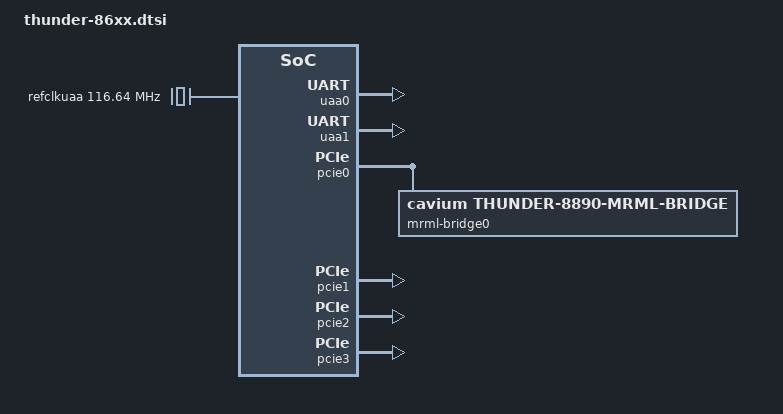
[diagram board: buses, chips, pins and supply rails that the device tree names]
/*
 * Cavium Thunder DTS file - Thunder SoC description
 *
 * Copyright (C) 2014, Cavium Inc.
 *
 * This file is dual-licensed: you can use it either under the terms
 * of the GPL or the X11 license, at your option. Note that this dual
 * licensing only applies to this file, and not this project as a
 * whole.
 *
 *  a) This library is free software; you can redistribute it and/or
 *     modify it under the terms of the GNU General Public License as
 *     published by the Free Software Foundation; either version 2 of the
 *     License, or (at your option) any later version.
 *
 *     This library is distributed in the hope that it will be useful,
 *     but WITHOUT ANY WARRANTY; without even the implied warranty of
 *     MERCHANTABILITY or FITNESS FOR A PARTICULAR PURPOSE.  See the
 *     GNU General Public License for more details.
 *
 * Or, alternatively,
 *
 *  b) Permission is hereby granted, free of charge, to any person
 *     obtaining a copy of this software and associated documentation
 *     files (the "Software"), to deal in the Software without
 *     restriction, including without limitation the rights to use,
 *     copy, modify, merge, publish, distribute, sublicense, and/or
 *     sell copies of the Software, and to permit persons to whom the
 *     Software is furnished to do so, subject to the following
 *     conditions:
 *
 *     The above copyright notice and this permission notice shall be
 *     included in all copies or substantial portions of the Software.
 *
 *     THE SOFTWARE IS PROVIDED "AS IS", WITHOUT WARRANTY OF ANY KIND,
 *     EXPRESS OR IMPLIED, INCLUDING BUT NOT LIMITED TO THE WARRANTIES
 *     OF MERCHANTABILITY, FITNESS FOR A PARTICULAR PURPOSE AND
 *     NONINFRINGEMENT. IN NO EVENT SHALL THE AUTHORS OR COPYRIGHT
 *     HOLDERS BE LIABLE FOR ANY CLAIM, DAMAGES OR OTHER LIABILITY,
 *     WHETHER IN AN ACTION OF CONTRACT, TORT OR OTHERWISE, ARISING
 *     FROM, OUT OF OR IN CONNECTION WITH THE SOFTWARE OR THE USE OR
 *     OTHER DEALINGS IN THE SOFTWARE.
 */

/ {
	compatible = "cavium,thunder-86xx";
	interrupt-parent = <&gic0>;
	#address-cells = <2>;
	#size-cells = <2>;

	psci {
		compatible = "arm,psci-0.2";
		method = "smc";
	};

	cpus {
		#address-cells = <2>;
		#size-cells = <0>;

		cpu-map {
			cluster0 {
				core0 {
					cpu = <&CPU0>;
				};
				core1 {
					cpu = <&CPU1>;
				};
				core2 {
					cpu = <&CPU2>;
				};
				core3 {
					cpu = <&CPU3>;
				};
				core4 {
					cpu = <&CPU4>;
				};
				core5 {
					cpu = <&CPU5>;
				};
				core6 {
					cpu = <&CPU6>;
				};
				core7 {
					cpu = <&CPU7>;
				};
				core8 {
					cpu = <&CPU8>;
				};
				core9 {
					cpu = <&CPU9>;
				};
				core10 {
					cpu = <&CPU10>;
				};
				core11 {
					cpu = <&CPU11>;
				};
				core12 {
					cpu = <&CPU12>;
				};
				core13 {
					cpu = <&CPU13>;
				};
				core14 {
					cpu = <&CPU14>;
				};
				core15 {
					cpu = <&CPU15>;
				};
				core16 {
					cpu = <&CPU16>;
				};
				core17 {
					cpu = <&CPU17>;
				};
				core18 {
					cpu = <&CPU18>;
				};
				core19 {
					cpu = <&CPU19>;
				};
				core20 {
					cpu = <&CPU20>;
				};
				core21 {
					cpu = <&CPU21>;
				};
				core22 {
					cpu = <&CPU22>;
				};
				core23 {
					cpu = <&CPU23>;
				};
			};
		};

		CPU0: cpu@000 {
			device_type = "cpu";
			compatible = "cavium,thunder", "arm,armv8";
			reg = <0x0 0x000>;
			enable-method = "psci";
			/* socket 0, cluster 0, core 0*/
			arm,associativity = <0 0 0>;
		};
		CPU1: cpu@001 {
			device_type = "cpu";
			compatible = "cavium,thunder", "arm,armv8";
			reg = <0x0 0x001>;
			enable-method = "psci";
			arm,associativity = <0 0 1>;
		};
		CPU2: cpu@002 {
			device_type = "cpu";
			compatible = "cavium,thunder", "arm,armv8";
			reg = <0x0 0x002>;
			enable-method = "psci";
			arm,associativity = <0 0 2>;
		};
		CPU3: cpu@003 {
			device_type = "cpu";
			compatible = "cavium,thunder", "arm,armv8";
			reg = <0x0 0x003>;
			enable-method = "psci";
			arm,associativity = <0 0 3>;
		};
		CPU4: cpu@004 {
			device_type = "cpu";
			compatible = "cavium,thunder", "arm,armv8";
			reg = <0x0 0x004>;
			enable-method = "psci";
			arm,associativity = <0 0 4>;
		};
		CPU5: cpu@005 {
			device_type = "cpu";
			compatible = "cavium,thunder", "arm,armv8";
			reg = <0x0 0x005>;
			enable-method = "psci";
			arm,associativity = <0 0 5>;
		};
		CPU6: cpu@006 {
			device_type = "cpu";
			compatible = "cavium,thunder", "arm,armv8";
			reg = <0x0 0x006>;
			enable-method = "psci";
			arm,associativity = <0 0 6>;
		};
		CPU7: cpu@007 {
			device_type = "cpu";
			compatible = "cavium,thunder", "arm,armv8";
			reg = <0x0 0x007>;
			enable-method = "psci";
			arm,associativity = <0 0 7>;
		};
		CPU8: cpu@008 {
			device_type = "cpu";
			compatible = "cavium,thunder", "arm,armv8";
			reg = <0x0 0x008>;
			enable-method = "psci";
			arm,associativity = <0 0 8>;
		};
		CPU9: cpu@009 {
			device_type = "cpu";
			compatible = "cavium,thunder", "arm,armv8";
			reg = <0x0 0x009>;
			enable-method = "psci";
			arm,associativity = <0 0 9>;
		};
		CPU10: cpu@00a {
			device_type = "cpu";
			compatible = "cavium,thunder", "arm,armv8";
			reg = <0x0 0x00a>;
			enable-method = "psci";
			arm,associativity = <0 0 10>;
		};
		CPU11: cpu@00b {
			device_type = "cpu";
			compatible = "cavium,thunder", "arm,armv8";
			reg = <0x0 0x00b>;
			enable-method = "psci";
			arm,associativity = <0 0 11>;
		};
		CPU12: cpu@00c {
			device_type = "cpu";
			compatible = "cavium,thunder", "arm,armv8";
			reg = <0x0 0x00c>;
			enable-method = "psci";
			arm,associativity = <0 0 12>;
		};
		CPU13: cpu@00d {
			device_type = "cpu";
			compatible = "cavium,thunder", "arm,armv8";
			reg = <0x0 0x00d>;
			enable-method = "psci";
			arm,associativity = <0 0 13>;
		};
		CPU14: cpu@00e {
			device_type = "cpu";
			compatible = "cavium,thunder", "arm,armv8";
			reg = <0x0 0x00e>;
			enable-method = "psci";
			arm,associativity = <0 0 14>;
		};
		CPU15: cpu@00f {
			device_type = "cpu";
			compatible = "cavium,thunder", "arm,armv8";
			reg = <0x0 0x00f>;
			enable-method = "psci";
			arm,associativity = <0 0 15>;
		};
		CPU16: cpu@100 {
			device_type = "cpu";
			compatible = "cavium,thunder", "arm,armv8";
			reg = <0x0 0x100>;
			enable-method = "psci";
			arm,associativity = <0 1 0>;
		};
		CPU17: cpu@101 {
			device_type = "cpu";
			compatible = "cavium,thunder", "arm,armv8";
			reg = <0x0 0x101>;
			enable-method = "psci";
			arm,associativity = <0 1 1>;
		};
		CPU18: cpu@102 {
			device_type = "cpu";
			compatible = "cavium,thunder", "arm,armv8";
			reg = <0x0 0x102>;
			enable-method = "psci";
			arm,associativity = <0 1 2>;
		};
		CPU19: cpu@103 {
			device_type = "cpu";
			compatible = "cavium,thunder", "arm,armv8";
			reg = <0x0 0x103>;
			enable-method = "psci";
			arm,associativity = <0 1 3>;
		};
		CPU20: cpu@104 {
			device_type = "cpu";
			compatible = "cavium,thunder", "arm,armv8";
			reg = <0x0 0x104>;
			enable-method = "psci";
			arm,associativity = <0 1 4>;
		};
		CPU21: cpu@105 {
			device_type = "cpu";
			compatible = "cavium,thunder", "arm,armv8";
			reg = <0x0 0x105>;
			enable-method = "psci";
			arm,associativity = <0 1 5>;
		};
		CPU22: cpu@106 {
			device_type = "cpu";
			compatible = "cavium,thunder", "arm,armv8";
			reg = <0x0 0x106>;
			enable-method = "psci";
			arm,associativity = <0 1 6>;
		};
		CPU23: cpu@107 {
			device_type = "cpu";
			compatible = "cavium,thunder", "arm,armv8";
			reg = <0x0 0x107>;
			enable-method = "psci";
			arm,associativity = <0 1 7>;
		};
	};

	timer {
		compatible = "arm,armv8-timer";
		interrupts = <1 13 0xff01>,
			     <1 14 0xff01>,
			     <1 11 0xff01>,
			     <1 10 0xff01>;
	};

	pmu {
		compatible = "arm,armv8-pmuv3";
		interrupts = <1 7 4>;
	};

	gic0: interrupt-controller@8010,00000000 {
		compatible = "arm,gic-v3";
		#interrupt-cells = <3>;
		#address-cells = <2>;
		#size-cells = <2>;
		#redistributor-regions = <1>;
		ranges;
		interrupt-controller;
		reg = <0x8010 0x00000000 0x0 0x010000>, /* GICD */
		      <0x8010 0x80000000 0x0 0x600000>; /* GICR Node 0 */
		interrupts = <1 9 0xf04>;

		its: gic-its@8010,00020000 {
			compatible = "arm,gic-v3-its";
			reg = <0x8010 0x20000 0x0 0x200000>;
			msi-controller;
			#msi-cells = <1>;
		};
	};

	soc@0 {
		compatible = "simple-bus";
		#address-cells = <2>;
		#size-cells = <2>;
		ranges;

		refclkuaa: refclkuaa {
			compatible = "fixed-clock";
			#clock-cells = <0>;
			clock-frequency = <116640000>;
			clock-output-names = "refclkuaa";
		};

		uaa0: serial@87e0,24000000 {
			compatible = "arm,pl011", "arm,primecell";
			reg = <0x87e0 0x24000000 0x0 0x1000>;
			interrupts = <0 5 4>;
			clocks = <&refclkuaa>;
			clock-names = "apb_pclk";
			uboot,skip-init;
		};

		uaa1: serial@87e0,25000000 {
			compatible = "arm,pl011", "arm,primecell";
			reg = <0x87e0 0x25000000 0x0 0x1000>;
			interrupts = <0 6 4>;
			clocks = <&refclkuaa>;
			clock-names = "apb_pclk";
			uboot,skip-init;
		};

		smmu0@8300,00000000 {
			compatible = "arm,smmu-v2";
			reg = <0x8300 0x0 0x0 0x2000000>;
			#global-interrupts = <1>;
			interrupts = <0 68 4>, <0 69 4>, <0 69 4>, <0 69 4>, <0 69 4>, <0 69 4>,
				     <0 69 4>, <0 69 4>, <0 69 4>, <0 69 4>, <0 69 4>, <0 69 4>,
				     <0 69 4>, <0 69 4>, <0 69 4>, <0 69 4>, <0 69 4>, <0 69 4>,
				     <0 69 4>, <0 69 4>, <0 69 4>, <0 69 4>, <0 69 4>, <0 69 4>,
				     <0 69 4>, <0 69 4>, <0 69 4>, <0 69 4>, <0 69 4>, <0 69 4>,
				     <0 69 4>, <0 69 4>, <0 69 4>, <0 69 4>, <0 69 4>, <0 69 4>,
				     <0 69 4>, <0 69 4>, <0 69 4>, <0 69 4>, <0 69 4>, <0 69 4>,
				     <0 69 4>, <0 69 4>, <0 69 4>, <0 69 4>, <0 69 4>, <0 69 4>,
				     <0 69 4>, <0 69 4>, <0 69 4>, <0 69 4>, <0 69 4>, <0 69 4>,
				     <0 69 4>, <0 69 4>, <0 69 4>, <0 69 4>, <0 69 4>, <0 69 4>,
				     <0 69 4>, <0 69 4>, <0 69 4>, <0 69 4>, <0 69 4>, <0 69 4>,
				     <0 69 4>, <0 69 4>, <0 69 4>, <0 69 4>, <0 69 4>, <0 69 4>,
				     <0 69 4>, <0 69 4>, <0 69 4>, <0 69 4>, <0 69 4>, <0 69 4>,
				     <0 69 4>, <0 69 4>, <0 69 4>, <0 69 4>, <0 69 4>, <0 69 4>,
				     <0 69 4>, <0 69 4>, <0 69 4>, <0 69 4>, <0 69 4>, <0 69 4>,
				     <0 69 4>, <0 69 4>, <0 69 4>, <0 69 4>, <0 69 4>, <0 69 4>,
				     <0 69 4>, <0 69 4>, <0 69 4>, <0 69 4>, <0 69 4>, <0 69 4>,
				     <0 69 4>, <0 69 4>, <0 69 4>, <0 69 4>, <0 69 4>, <0 69 4>,
				     <0 69 4>, <0 69 4>, <0 69 4>, <0 69 4>, <0 69 4>, <0 69 4>,
				     <0 69 4>, <0 69 4>, <0 69 4>, <0 69 4>, <0 69 4>, <0 69 4>,
				     <0 69 4>, <0 69 4>, <0 69 4>, <0 69 4>, <0 69 4>, <0 69 4>,
				     <0 69 4>, <0 69 4>, <0 69 4>;

			mmu-masters = <&pcie0 0x100>;
			thunderx,smmu-64-bit-writes-only;
		};

			smmu1@8310,00000000 {
			compatible = "arm,smmu-v2";
			reg = <0x8310 0x0 0x0 0x2000000>;
			#global-interrupts = <1>;
			interrupts = <0 70 4>, <0 71 4>, <0 71 4>, <0 71 4>, <0 71 4>, <0 71 4>,
				     <0 71 4>, <0 71 4>, <0 71 4>, <0 71 4>, <0 71 4>, <0 71 4>,
				     <0 71 4>, <0 71 4>, <0 71 4>, <0 71 4>, <0 71 4>, <0 71 4>,
				     <0 71 4>, <0 71 4>, <0 71 4>, <0 71 4>, <0 71 4>, <0 71 4>,
				     <0 71 4>, <0 71 4>, <0 71 4>, <0 71 4>, <0 71 4>, <0 71 4>,
				     <0 71 4>, <0 71 4>, <0 71 4>, <0 71 4>, <0 71 4>, <0 71 4>,
				     <0 71 4>, <0 71 4>, <0 71 4>, <0 71 4>, <0 71 4>, <0 71 4>,
				     <0 71 4>, <0 71 4>, <0 71 4>, <0 71 4>, <0 71 4>, <0 71 4>,
				     <0 71 4>, <0 71 4>, <0 71 4>, <0 71 4>, <0 71 4>, <0 71 4>,
				     <0 71 4>, <0 71 4>, <0 71 4>, <0 71 4>, <0 71 4>, <0 71 4>,
				     <0 71 4>, <0 71 4>, <0 71 4>, <0 71 4>, <0 71 4>, <0 71 4>,
				     <0 71 4>, <0 71 4>, <0 71 4>, <0 71 4>, <0 71 4>, <0 71 4>,
				     <0 71 4>, <0 71 4>, <0 71 4>, <0 71 4>, <0 71 4>, <0 71 4>,
				     <0 71 4>, <0 71 4>, <0 71 4>, <0 71 4>, <0 71 4>, <0 71 4>,
				     <0 71 4>, <0 71 4>, <0 71 4>, <0 71 4>, <0 71 4>, <0 71 4>,
				     <0 71 4>, <0 71 4>, <0 71 4>, <0 71 4>, <0 71 4>, <0 71 4>,
				     <0 71 4>, <0 71 4>, <0 71 4>, <0 71 4>, <0 71 4>, <0 71 4>,
				     <0 71 4>, <0 71 4>, <0 71 4>, <0 71 4>, <0 71 4>, <0 71 4>,
				     <0 71 4>, <0 71 4>, <0 71 4>, <0 71 4>, <0 71 4>, <0 71 4>,
				     <0 71 4>, <0 71 4>, <0 71 4>, <0 71 4>, <0 71 4>, <0 71 4>,
				     <0 71 4>, <0 71 4>, <0 71 4>, <0 71 4>, <0 71 4>, <0 71 4>,
				     <0 71 4>, <0 71 4>, <0 71 4>;

			mmu-masters = <&pcie1 0x100>;
			thunderx,smmu-64-bit-writes-only;
		};

		smmu2@8320,00000000 {
			compatible = "arm,smmu-v2";
			reg = <0x8320 0x0 0x0 0x2000000>;
			#global-interrupts = <1>;
			interrupts = <0 72 4>, <0 73 4>, <0 73 4>, <0 73 4>, <0 73 4>, <0 73 4>,
				     <0 73 4>, <0 73 4>, <0 73 4>, <0 73 4>, <0 73 4>, <0 73 4>,
				     <0 73 4>, <0 73 4>, <0 73 4>, <0 73 4>, <0 73 4>, <0 73 4>,
				     <0 73 4>, <0 73 4>, <0 73 4>, <0 73 4>, <0 73 4>, <0 73 4>,
				     <0 73 4>, <0 73 4>, <0 73 4>, <0 73 4>, <0 73 4>, <0 73 4>,
				     <0 73 4>, <0 73 4>, <0 73 4>, <0 73 4>, <0 73 4>, <0 73 4>,
				     <0 73 4>, <0 73 4>, <0 73 4>, <0 73 4>, <0 73 4>, <0 73 4>,
				     <0 73 4>, <0 73 4>, <0 73 4>, <0 73 4>, <0 73 4>, <0 73 4>,
				     <0 73 4>, <0 73 4>, <0 73 4>, <0 73 4>, <0 73 4>, <0 73 4>,
				     <0 73 4>, <0 73 4>, <0 73 4>, <0 73 4>, <0 73 4>, <0 73 4>,
				     <0 73 4>, <0 73 4>, <0 73 4>, <0 73 4>, <0 73 4>, <0 73 4>,
				     <0 73 4>, <0 73 4>, <0 73 4>, <0 73 4>, <0 73 4>, <0 73 4>,
				     <0 73 4>, <0 73 4>, <0 73 4>, <0 73 4>, <0 73 4>, <0 73 4>,
				     <0 73 4>, <0 73 4>, <0 73 4>, <0 73 4>, <0 73 4>, <0 73 4>,
				     <0 73 4>, <0 73 4>, <0 73 4>, <0 73 4>, <0 73 4>, <0 73 4>,
				     <0 73 4>, <0 73 4>, <0 73 4>, <0 73 4>, <0 73 4>, <0 73 4>,
				     <0 73 4>, <0 73 4>, <0 73 4>, <0 73 4>, <0 73 4>, <0 73 4>,
				     <0 73 4>, <0 73 4>, <0 73 4>, <0 73 4>, <0 73 4>, <0 73 4>,
				     <0 73 4>, <0 73 4>, <0 73 4>, <0 73 4>, <0 73 4>, <0 73 4>,
				     <0 73 4>, <0 73 4>, <0 73 4>, <0 73 4>, <0 73 4>, <0 73 4>,
				     <0 73 4>, <0 73 4>, <0 73 4>, <0 73 4>, <0 73 4>, <0 73 4>,
				     <0 73 4>, <0 73 4>, <0 73 4>;

			mmu-masters = <&pcie2 0x100>;
			thunderx,smmu-64-bit-writes-only;
		};

		smmu3@8330,00000000 {
			compatible = "arm,smmu-v2";
			reg = <0x8330 0x0 0x0 0x2000000>;
			#global-interrupts = <1>;
			interrupts = <0 74 4>, <0 75 4>, <0 75 4>, <0 75 4>, <0 75 4>, <0 75 4>,
				     <0 75 4>, <0 75 4>, <0 75 4>, <0 75 4>, <0 75 4>, <0 75 4>,
				     <0 75 4>, <0 75 4>, <0 75 4>, <0 75 4>, <0 75 4>, <0 75 4>,
				     <0 75 4>, <0 75 4>, <0 75 4>, <0 75 4>, <0 75 4>, <0 75 4>,
				     <0 75 4>, <0 75 4>, <0 75 4>, <0 75 4>, <0 75 4>, <0 75 4>,
				     <0 75 4>, <0 75 4>, <0 75 4>, <0 75 4>, <0 75 4>, <0 75 4>,
				     <0 75 4>, <0 75 4>, <0 75 4>, <0 75 4>, <0 75 4>, <0 75 4>,
				     <0 75 4>, <0 75 4>, <0 75 4>, <0 75 4>, <0 75 4>, <0 75 4>,
				     <0 75 4>, <0 75 4>, <0 75 4>, <0 75 4>, <0 75 4>, <0 75 4>,
				     <0 75 4>, <0 75 4>, <0 75 4>, <0 75 4>, <0 75 4>, <0 75 4>,
				     <0 75 4>, <0 75 4>, <0 75 4>, <0 75 4>, <0 75 4>, <0 75 4>,
				     <0 75 4>, <0 75 4>, <0 75 4>, <0 75 4>, <0 75 4>, <0 75 4>,
				     <0 75 4>, <0 75 4>, <0 75 4>, <0 75 4>, <0 75 4>, <0 75 4>,
				     <0 75 4>, <0 75 4>, <0 75 4>, <0 75 4>, <0 75 4>, <0 75 4>,
				     <0 75 4>, <0 75 4>, <0 75 4>, <0 75 4>, <0 75 4>, <0 75 4>,
				     <0 75 4>, <0 75 4>, <0 75 4>, <0 75 4>, <0 75 4>, <0 75 4>,
				     <0 75 4>, <0 75 4>, <0 75 4>, <0 75 4>, <0 75 4>, <0 75 4>,
				     <0 75 4>, <0 75 4>, <0 75 4>, <0 75 4>, <0 75 4>, <0 75 4>,
				     <0 75 4>, <0 75 4>, <0 75 4>, <0 75 4>, <0 75 4>, <0 75 4>,
				     <0 75 4>, <0 75 4>, <0 75 4>, <0 75 4>, <0 75 4>, <0 75 4>,
				     <0 75 4>, <0 75 4>, <0 75 4>, <0 75 4>, <0 75 4>, <0 75 4>,
				     <0 75 4>, <0 75 4>, <0 75 4>;

			mmu-masters = <&pcie3 0x100>;
			thunderx,smmu-64-bit-writes-only;
		};

		pcie0: pcie0@8480,00000000 {
			compatible = "cavium,pci-host-thunder-ecam";
			device_type = "pci";
			msi-parent = <&its>;
			msi-map = <0 &its 0 0x10000>;
			bus-range = <0 255>;
			#size-cells = <2>;
			#address-cells = <3>;
			#stream-id-cells = <1>;
			reg = <0x8480 0x00000000 0 0x10000000>;	 /* Configuration space */
			ranges = <0x03000000 0x8010 0x00000000 0x8010 0x00000000 0x070 0x00000000>, /* mem ranges */
				 <0x03000000 0x8680 0x00000000 0x8680 0x00000000 0x160 0x24000000>, /* hole for UARTs */
				 <0x03000000 0x87e0 0x26000000 0x87e0 0x26000000 0x000 0x9a000000>, /* hole for PEMs */
				 <0x03000000 0x87e0 0xc6000000 0x87e0 0xc6000000 0x01f 0x3a000000>;

			mrml-bridge0@1,0 {
				compatible = "cavium,thunder-8890-mrml-bridge";
				#size-cells = <2>;
				#address-cells = <3>;
				ranges = <0x03000000 0x87e0 0x00000000 0x03000000 0x87e0 0x00000000 0x10 0x00000000>;
				reg = <0x0800 0 0 0 0>; /* DEVFN = 0x08 (1:0) */

				mdio-nexus@1,3 {
					compatible = "cavium,thunder-8890-mdio-nexus";
					#address-cells = <2>;
					#size-cells = <2>;
					reg = <0x0b00 0 0 0 0>; /* DEVFN = 0x0b (1:3) */
					assigned-addresses = <0x03000000 0x87e0 0x05000000 0x0 0x800000>;
					ranges = <0x87e0 0x05000000 0x03000000 0x87e0 0x05000000 0x0 0x800000>;

					mdio0@87e0,05003800 {
						compatible = "cavium,thunder-8890-mdio";
						#address-cells = <1>;
						#size-cells = <0>;
						reg = <0x87e0 0x05003800 0x0 0x30>;
					};

					mdio1@87e0,05003880 {
						compatible = "cavium,thunder-8890-mdio";
						#address-cells = <1>;
						#size-cells = <0>;
						reg = <0x87e0 0x05003880 0x0 0x30>;

						sgmii00: sgmii00 {
							qlm-mode = "0,sgmii";
							reg = <0x8> ;
							compatible = "marvell,88e1240", "ethernet-phy-ieee802.3-c22";
							marvell,reg-init = <3 0x10 0 0x8665>,
									   <3 0x11 0 0x00aa>,
									   <3 0x12 0 0x4105>,
									   <3 0x13 0 0x8a08>;
						};
						sgmii01: sgmii01 {
							qlm-mode = "0,sgmii";
							reg = <0x9> ;
							compatible = "marvell,88e1240", "ethernet-phy-ieee802.3-c22";
							marvell,reg-init = <3 0x10 0 0x8665>,
									   <3 0x11 0 0x00aa>,
									   <3 0x12 0 0x4105>,
									   <3 0x13 0 0x8a08>;
						};
						sgmii02: sgmii02 {
							qlm-mode = "0,sgmii";
							reg = <0xa> ;
							compatible = "marvell,88e1240", "ethernet-phy-ieee802.3-c22";
							marvell,reg-init = <3 0x10 0 0x8665>,
									   <3 0x11 0 0x00aa>,
									   <3 0x12 0 0x4105>,
									   <3 0x13 0 0x8a08>;
						};
						sgmii03: sgmii03 {
							qlm-mode = "0,sgmii";
							reg = <0xb> ;
							compatible = "marvell,88e1240", "ethernet-phy-ieee802.3-c22";
							marvell,reg-init = <3 0x10 0 0x8665>,
									   <3 0x11 0 0x00aa>,
									   <3 0x12 0 0x4105>,
									   <3 0x13 0 0x8a08>;
						};
						sgmii10: sgmii10 {
							qlm-mode = "1,sgmii";
							reg = <0xc> ;
							compatible = "marvell,88e1240", "ethernet-phy-ieee802.3-c22";
							marvell,reg-init = <3 0x10 0 0x8665>,
									   <3 0x11 0 0x00aa>,
								           <3 0x12 0 0x4105>,
								           <3 0x13 0 0x8a08>;
						};
						sgmii11: sgmii11 {
							qlm-mode = "1,sgmii";
							reg = <0xd> ;
							compatible = "marvell,88e1240", "ethernet-phy-ieee802.3-c22";
							marvell,reg-init = <3 0x10 0 0x8665>,
			      						   <3 0x11 0 0x00aa>,
					   			           <3 0x12 0 0x4105>,
									   <3 0x13 0 0x8a08>;

						};
						sgmii12: sgmii12 {
							qlm-mode = "1,sgmii";
							reg = <0xe> ;
							compatible = "marvell,88e1240", "ethernet-phy-ieee802.3-c22";
							marvell,reg-init = <3 0x10 0 0x8665>,
			      						   <3 0x11 0 0x00aa>,
					  			           <3 0x12 0 0x4105>,
					  			           <3 0x13 0 0x8a08>;
						};
						sgmii13: sgmii13 {
							qlm-mode = "1,sgmii";
							reg = <0xf> ;
							compatible = "marvell,88e1240", "ethernet-phy-ieee802.3-c22";
							marvell,reg-init = <3 0x10 0 0x8665>,
			      						   <3 0x11 0 0x00aa>,
								           <3 0x12 0 0x4105>,
								           <3 0x13 0 0x8a08>;
						};
						xaui00: xaui00 {
							qlm-mode = "0,xaui";
							reg = <8> ;
							compatible = "broadcom,bcm8706", "ethernet-phy-ieee802.3-c45";
							broadcom,c45-reg-init = <1 0xc808 0xff8f 0x70>;
						};
						xaui10: xaui10 {
							qlm-mode = "1,xaui";
							reg = <0xc> ;
							compatible = "broadcom,bcm8706", "ethernet-phy-ieee802.3-c45";
							broadcom,c45-reg-init = <1 0xc808 0xff8f 0x70>;
						};

						rxaui00: rxaui00 {
							qlm-mode = "0,rxaui";
							reg = <8> ;
							compatible = "marvell,88x3120", "ethernet-phy-ieee802.3-c45";
						};
						rxaui01: rxaui01 {
							qlm-mode = "0,rxaui";
							reg = <9> ;
							compatible = "marvell,88x3120", "ethernet-phy-ieee802.3-c45";
						};
						rxaui10: rxaui10 {
							qlm-mode = "1,rxaui";
							reg = <0xc> ;
							compatible = "marvell,88x3120", "ethernet-phy-ieee802.3-c45";
						};
						rxaui11: rxaui11 {
							qlm-mode = "1,rxaui";
							reg = <0xd> ;
							compatible = "marvell,88x3120", "ethernet-phy-ieee802.3-c45";
						};
					};
				};

				bgx0 {
					#address-cells = <1>;
					#size-cells = <0>;
					reg = <0x8000 0 0 0 0>; /* DEVFN = 0x80 (16:0) */
					/* typename+qlm+typenumber eg :
					   sgmii+bgx0+sgmmi0
					 */
					// SGMII
					sgmii00 {
						reg = <0>;
						qlm-mode = "0,sgmii";
						phy-handle = <&sgmii00>;
					};
					sgmii01 {
						reg = <1>;
						qlm-mode = "0,sgmii";
						phy-handle = <&sgmii01>;
					};
					sgmii02 {
						reg = <2>;
						qlm-mode = "0,sgmii";
						phy-handle = <&sgmii02>;
					};
					sgmii03 {
						reg = <3>;
						qlm-mode = "0,sgmii";
						phy-handle = <&sgmii03>;
					};
					xaui00 {
						reg = <0>;
						qlm-mode = "0,xaui";
						phy-handle = <&xaui00>;
					};
					rxaui00 {
						reg = <0>;
						qlm-mode = "0,rxaui";
						phy-handle = <&rxaui00>;
					};
					rxaui01 {
						reg = <1>;
						qlm-mode = "0,rxaui";
						phy-handle = <&rxaui01>;
					};
				};

				bgx1 {
					#address-cells = <1>;
					#size-cells = <0>;
					reg = <0x8100 0 0 0 0>; /* DEVFN = 0x81 (16:1) */

					sgmii10 {
						reg = <0>;
						qlm-mode = "1,sgmii";
						phy-handle = <&sgmii10>; /*"sgmmi"+bgx+no */
					};
					sgmii11 {
						reg = <1>;
						qlm-mode = "1,sgmii";
						phy-handle = <&sgmii11>;
					};
					sgmii12 {
						reg = <2>;
						qlm-mode = "1,sgmii";
						phy-handle = <&sgmii12>;
					};
					sgmii13 {
						reg = <3>;
						qlm-mode = "1,sgmii";
						phy-handle = <&sgmii13>;
					};
					xaui10 {
						reg = <0>;
						qlm-mode = "1,xaui";
						phy-handle = <&xaui10>;
					};
					rxaui10 {
						reg = <0>;
						qlm-mode = "1,rxaui";
						phy-handle = <&rxaui10>;
					};
					rxaui11 {
						reg = <1>;
						qlm-mode = "1,rxaui";
						phy-handle = <&rxaui11>;
					};
				};
			};
		};

		pcie1: pcie1@8490,00000000 {
			compatible = "cavium,pci-host-thunder-ecam";
			device_type = "pci";
			msi-parent = <&its>;
			msi-map = <0 &its 0x10000 0x10000>;
			bus-range = <0 255>;
			#size-cells = <2>;
			#address-cells = <3>;
			#stream-id-cells = <1>;
			reg = <0x8490 0x00000000 0 0x10000000>;	 /* Configuration space */
			ranges = <0x03000000 0x8100 0x00000000  0x8100 0x00000000  0x80 0x00000000>; /* mem ranges */
		};

		pcie2: pcie2@84a0,00000000 {
			compatible = "cavium,pci-host-thunder-ecam";
			device_type = "pci";
			msi-parent = <&its>;
			msi-map = <0 &its 0x20000 0x10000>;
			bus-range = <0 255>;
			#size-cells = <2>;
			#address-cells = <3>;
			#stream-id-cells = <1>;
			reg = <0x84a0 0x00000000 0 0x10000000>;  /* Configuration space */
			ranges = <0x03000000 0x8420 0x00000000  0x8420 0x00000000  0x20 0x00000000>; /* mem ranges */
		};

		pcie3: pcie3@84b0,00000000 {
			compatible = "cavium,pci-host-thunder-ecam";
			device_type = "pci";
			msi-parent = <&its>;
			msi-map = <0 &its 0x30000 0x10000>;
			bus-range = <0 255>;
			#size-cells = <2>;
			#address-cells = <3>;
			#stream-id-cells = <1>;
			reg = <0x84b0 0x00000000 0 0x10000000>;  /* Configuration space */
			ranges = <0x03000000 0x8180 0x00000000  0x8180 0x00000000  0x80 0x00000000>; /* mem ranges */
		};

		pem0 {
			compatible = "cavium,pci-host-thunder-pem";
			device_type = "pci";
			msi-parent = <&its>;
			msi-map = <0 &its 0x10000 0x10000>;
			bus-range = <0x20 0x57>;
			#size-cells = <2>;
			#address-cells = <3>;
			#stream-id-cells = <1>;
			reg = <0x8800 0x20000000 0x0 0x38000000>,  /* Configuration space */
				<0x87e0 0xc0000000 0x0 0x01000000>; /* PEM space */
			ranges = <0x01000000 0x00 0x00000000  0x8830 0x00000000  0x00 0x00010000>, /* I/O */
				 <0x03000000 0x00 0x10000000  0x8810 0x10000000  0x0f 0xf0000000>, /* mem64 */
				 <0x43000000 0x10 0x00000000 0x8820 0x00000000 0x10 0x00000000>, /* mem64-pref */
				 <0x03000000 0x87e0 0xc0000000 0x87e0 0xc0000000 0x00 0x01000000>; /* mem64 PEM */

			#interrupt-cells = <1>;
			interrupt-map-mask = <0 0 0 7>;
			interrupt-map = <0 0 0 1 &gic0 0 0 0 16 4>, /* INTA */
					<0 0 0 2 &gic0 0 0 0 17 4>, /* INTB */
					<0 0 0 3 &gic0 0 0 0 18 4>, /* INTC */
					<0 0 0 4 &gic0 0 0 0 19 4>; /* INTD */
		};

		pem1 {
			compatible = "cavium,pci-host-thunder-pem";
			device_type = "pci";
			msi-parent = <&its>;
			msi-map = <0 &its 0x10000 0x10000>;
			bus-range = <0x58 0x8f>;
			#size-cells = <2>;
			#address-cells = <3>;
			#stream-id-cells = <1>;
			reg = <0x8840 0x58000000 0x0 0x38000000>,  /* Configuration space */
				<0x87e0 0xc1000000 0x0 0x01000000>; /* PEM space */
			ranges = <0x01000000 0x00 0x00010000  0x8870 0x00010000  0x00 0x00010000>, /* I/O */
				 <0x03000000 0x00 0x10000000  0x8850 0x10000000  0x0f 0xf0000000>, /* mem64 */
				 <0x43000000 0x10 0x00000000 0x8860 0x00000000 0x10 0x00000000>, /* mem64-pref */
				 <0x03000000 0x87e0 0xc1000000 0x87e0 0xc1000000 0x00 0x01000000>; /* mem64 PEM */

			#interrupt-cells = <1>;
			interrupt-map-mask = <0 0 0 7>;
			interrupt-map = <0 0 0 1 &gic0 0 0 0 20 4>, /* INTA */
					<0 0 0 2 &gic0 0 0 0 21 4>, /* INTB */
					<0 0 0 3 &gic0 0 0 0 22 4>, /* INTC */
					<0 0 0 4 &gic0 0 0 0 23 4>; /* INTD */
		};

		pem2 {
			compatible = "cavium,pci-host-thunder-pem";
			device_type = "pci";
			msi-parent = <&its>;
			msi-map = <0 &its 0x10000 0x10000>;
			bus-range = <0x90 0xc7>;
			#size-cells = <2>;
			#address-cells = <3>;
			#stream-id-cells = <1>;
			reg = <0x8880 0x90000000 0x0 0x58000000>,  /* Configuration space */
				<0x87e0 0xc2000000 0x0 0x01000000>; /* PEM space */
			ranges = <0x01000000 0x00 0x00020000  0x88b0 0x00020000  0x00 0x00010000>, /* I/O */
				 <0x03000000 0x00 0x10000000  0x8890 0x10000000  0x0f 0xf0000000>, /* mem64 */
				 <0x43000000 0x10 0x00000000 0x88a0 0x00000000 0x10 0x00000000>, /* mem64-pref */
				 <0x03000000 0x87e0 0xc2000000 0x87e0 0xc2000000 0x00 0x01000000>; /* mem64 PEM */

			#interrupt-cells = <1>;
			interrupt-map-mask = <0 0 0 7>;
			interrupt-map = <0 0 0 1 &gic0 0 0 0 24 4>, /* INTA */
					<0 0 0 2 &gic0 0 0 0 25 4>, /* INTB */
					<0 0 0 3 &gic0 0 0 0 26 4>, /* INTC */
					<0 0 0 4 &gic0 0 0 0 27 4>; /* INTD */
		};

		pem3 {
			compatible = "cavium,pci-host-thunder-pem";
			device_type = "pci";
			msi-parent = <&its>;
			msi-map = <0 &its 0x30000 0x10000>;
			bus-range = <0x20 0x57>;
			#size-cells = <2>;
			#address-cells = <3>;
			#stream-id-cells = <1>;
			reg = <0x8900 0x20000000 0x0 0x38000000>,  /* Configuration space */
				<0x87e0 0xc3000000 0x0 0x01000000>; /* PEM space */
			ranges = <0x01000000 0x00 0x00030000  0x8930 0x00030000  0x00 0x00010000>, /* I/O */
				 <0x03000000 0x00 0x10000000  0x8910 0x10000000  0x0f 0xf0000000>, /* mem64 */
				 <0x43000000 0x10 0x00000000 0x8920 0x00000000 0x10 0x00000000>, /* mem64-pref */
				 <0x03000000 0x87e0 0xc3000000 0x87e0 0xc3000000 0x00 0x01000000>; /* mem64 PEM */

			#interrupt-cells = <1>;
			interrupt-map-mask = <0 0 0 7>;
			interrupt-map = <0 0 0 1 &gic0 0 0 0 28 4>, /* INTA */
					<0 0 0 2 &gic0 0 0 0 29 4>, /* INTB */
					<0 0 0 3 &gic0 0 0 0 30 4>, /* INTC */
					<0 0 0 4 &gic0 0 0 0 31 4>; /* INTD */
		};

		pem4 {
			compatible = "cavium,pci-host-thunder-pem";
			device_type = "pci";
			msi-parent = <&its>;
			msi-map = <0 &its 0x30000 0x10000>;
			bus-range = <0x58 0x8f>;
			#size-cells = <2>;
			#address-cells = <3>;
			#stream-id-cells = <1>;
			reg = <0x8940 0x58000000 0x0 0x38000000>,  /* Configuration space */
				<0x87e0 0xc4000000 0x0 0x01000000>; /* PEM space */
			ranges = <0x01000000 0x00 0x00040000  0x8970 0x00040000  0x00 0x00010000>, /* I/O */
				 <0x03000000 0x00 0x10000000  0x8950 0x10000000  0x0f 0xf0000000>, /* mem64 */
				 <0x43000000 0x10 0x00000000 0x8960 0x00000000 0x10 0x00000000>, /* mem64-pref */
				 <0x03000000 0x87e0 0xc4000000 0x87e0 0xc4000000 0x00 0x01000000>; /* mem64 PEM */

			#interrupt-cells = <1>;
			interrupt-map-mask = <0 0 0 7>;
			interrupt-map = <0 0 0 1 &gic0 0 0 0 32 4>, /* INTA */
					<0 0 0 2 &gic0 0 0 0 33 4>, /* INTB */
					<0 0 0 3 &gic0 0 0 0 34 4>, /* INTC */
					<0 0 0 4 &gic0 0 0 0 35 4>; /* INTD */
		};

		pem5 {
			compatible = "cavium,pci-host-thunder-pem";
			device_type = "pci";
			msi-parent = <&its>;
			msi-map = <0 &its 0x30000 0x10000>;
			bus-range = <0x90 0xc7>;
			#size-cells = <2>;
			#address-cells = <3>;
			#stream-id-cells = <1>;
			reg = <0x8980 0x90000000 0x0 0x38000000>,  /* Configuration space */
				<0x87e0 0xc5000000 0x0 0x01000000>; /* PEM space */
			ranges = <0x01000000 0x00 0x00050000  0x89b0 0x00050000  0x00 0x00010000>, /* I/O */
				 <0x03000000 0x00 0x10000000  0x8990 0x10000000  0x0f 0xf0000000>, /* mem64 */
				 <0x43000000 0x10 0x00000000 0x89a0 0x00000000 0x10 0x00000000>, /* mem64-pref */
				 <0x03000000 0x87e0 0xc5000000 0x87e0 0xc5000000 0x00 0x01000000>; /* mem64 PEM */

			#interrupt-cells = <1>;
			interrupt-map-mask = <0 0 0 7>;
			interrupt-map = <0 0 0 1 &gic0 0 0 0 36 4>, /* INTA */
					<0 0 0 2 &gic0 0 0 0 37 4>, /* INTB */
					<0 0 0 3 &gic0 0 0 0 38 4>, /* INTC */
					<0 0 0 4 &gic0 0 0 0 39 4>; /* INTD */
		};
	};
};
